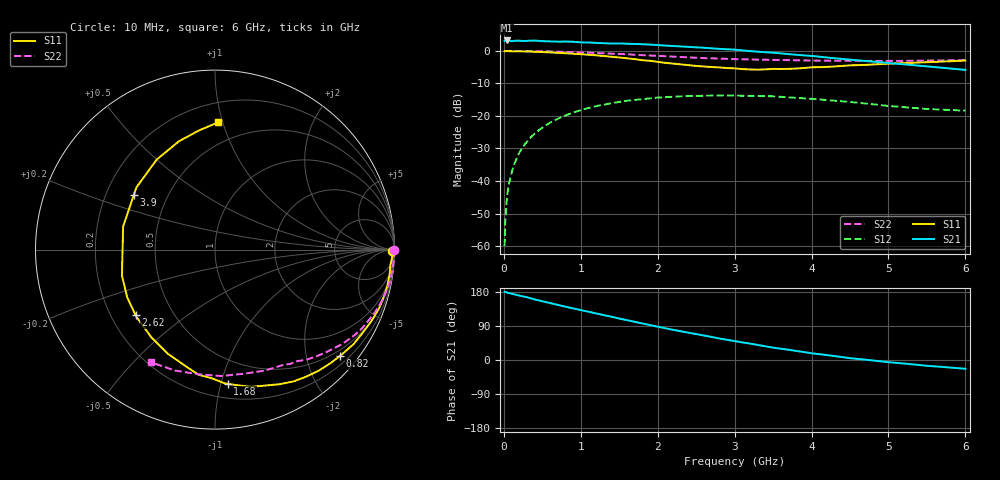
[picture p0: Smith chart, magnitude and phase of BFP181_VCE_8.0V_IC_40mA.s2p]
! Infineon Technologies  Discrete & RF Semiconductors
! BFP181
! VCE = 8.0 V,  IC =  40 mA
! Common Emitter S-Parameters:  Jan 2016
# GHz  S  MA  R  50
!  f  S11  S21  S12  S22
! GHz  MAG  ANG  MAG  ANG  MAG  ANG  MAG  ANG
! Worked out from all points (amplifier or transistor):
!   210 points, 10 MHz to 6 GHz, reference 50 ohm
!   highest |S21| = 3.2 dB at 45 MHz (marker M1)
!   |S21| within 3 dB of that: start of sweep to 3.08 GHz
!   unconditionally stable (mu >= 1): 3.828 GHz to end of sweep
!   at 185 MHz: K = 0.06, MSG = 17.6 dB, |S12| = -32.0 dB
!   at 1.52 GHz: K = 0.44, MSG = 8.9 dB, |S12| = -15.6 dB
!   at 6 GHz: K = 1.47, MAG = 2.2 dB, |S12| = -18.4 dB
!   S11 on the Smith chart (normalised r, x): 10 MHz: open; 820 MHz: 0.37, -2.67; 1.68 GHz: 0.31, -1.05; 2.62 GHz: 0.30, -0.33; 3.9 GHz: 0.32, +0.27; 6 GHz: 0.34, +0.97
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0.01  0.9857 -0.6  1.418 179.8  0.001 76.8  1 -0.2
0.015  0.9898 -0.9  1.43 179.7  0.0018 83.7  0.998 -0.3
0.02  0.994 -1.2  1.442 179.6  0.0026 86.4  0.996 -0.4
0.03  0.9922 -1.5  1.442 178.9  0.004 89.4  0.9966 -0.7
0.045  0.9896 -2.0  1.443 177.8  0.0062 91.3  0.9975 -1.1
0.085  0.9831 -4.2  1.415 175.9  0.0114 86.5  0.998 -2.1
0.135  0.9825 -6.8  1.422 173.4  0.0181 84.7  0.9972 -3.3
0.28  0.9786 -13.7  1.42 166.5  0.0376 79.8  0.994 -6.9
0.5  0.9588 -24.5  1.409 154.9  0.0659 71.8  0.9858 -12.3
0.82  0.9135 -40.5  1.39 139.8  0.1039 60.4  0.9639 -19.7
1.02  0.8841 -50.4  1.347 130.8  0.1242 53.7  0.9447 -24.2
1.3  0.8319 -64.4  1.309 118.4  0.1495 44.3  0.9179 -30.4
1.68  0.7512 -84.6  1.279 101.8  0.1752 33.1  0.8738 -37.8
2.02  0.6723 -103.5  1.221 87.0  0.1921 23.9  0.8372 -43.7
2.62  0.5736 -140.5  1.111 63.9  0.2042 9.2  0.7715 -53.7
3.1  0.525 -170.1  1.016 46.5  0.2038 -1.6  0.7406 -61.4
3.5  0.5278 165.9  0.937 32.6  0.2003 -9.3  0.7286 -67.8
3.9  0.5447 146.3  0.851 21.0  0.1863 -15.5  0.712 -75.2
4.1  0.5612 137.7  0.812 15.5  0.1792 -18.3  0.7071 -79.1
4.5  0.598 122.8  0.733 4.8  0.164 -23.1  0.7054 -87.2
5.1  0.641 106.1  0.636 -7.5  0.1395 -24.4  0.7006 -99.8
6  0.7093 88.6  0.51 -23.2  0.1205 -18.1  0.7214 -119.4
